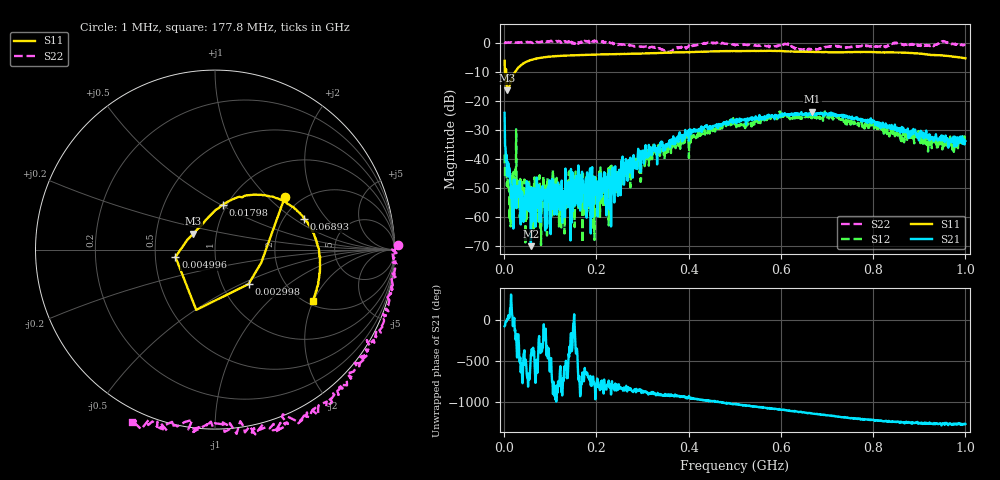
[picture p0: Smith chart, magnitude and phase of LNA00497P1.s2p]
! Created with skrf 1.9.0 (http://scikit-rf.org).
# Hz S RI R 50.0
!freq ReS11 ImS11 ReS21 ImS21 ReS12 ImS12 ReS22 ImS22
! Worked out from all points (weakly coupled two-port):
!   1001 points, 1 MHz to 1 GHz, reference 50 ohm
!   highest |S21| = -23.84 dB at 668.3 MHz (marker M1); lowest = -70.2 dB at 57.94 MHz (marker M2)
!   lowest |S11| = -16.5 dB at 6.994 MHz (marker M3), VSWR 1.35, Z = 38.7 + j7.06 ohm
!   |S11| at or under -10 dB: 1.72 MHz to 3.604 MHz (1.884 MHz wide, 70.8 % of centre); 4.234 MHz to 24.09 MHz (19.86 MHz wide, 140 % of centre)
!   |S22| runs from -3.3 to 0.8 dB; largest |S21 - S12| = 0.05
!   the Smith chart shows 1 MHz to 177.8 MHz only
!   S11 on the Smith chart (normalised r, x): 1 MHz: 1.67, +1.27; 2.998 MHz: 1.33, -0.55; 4.996 MHz: 0.64, -0.06; 17.98 MHz: 0.96, +0.51; 68.93 MHz: 2.56, +1.19; 177.8 MHz: 2.15, -1.98
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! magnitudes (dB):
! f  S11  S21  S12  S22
! 1 MHz  -6.3  -24.2  -38.6  0.2
! 2.998 MHz  -11.4  -36.1  -42.9  0.1
! 4.996 MHz  -13.0  -38.7  -45.2  0.0
! 6.994 MHz  -16.5  -41.0  -46.7  0.0
! 17.98 MHz  -11.9  -60.9  -44.8  0.0
! 21.98 MHz  -10.6  -50.2  -49.9  0.1
! 43.96 MHz  -6.9  -57.1  -47.2  0.2
! 57.94 MHz  -6.0  -70.2  -50.7  0.2
! 68.93 MHz  -5.6  -50.7  -46.8  0.0
! 109.9 MHz  -4.7  -56.6  -47.3  0.4
! 128.9 MHz  -4.5  -52.1  -52.4  0.6
! 143.9 MHz  -4.4  -68.2  -51.0  0.0
! 167.8 MHz  -4.3  -55.1  -58.0  0.4
! 177.8 MHz  -4.2  -46.9  -46.3  0.6
! 190.8 MHz  -4.2  -42.9  -64.6  0.4
! 233.8 MHz  -4.0  -51.7  -46.4  -0.1
! 334.7 MHz  -3.6  -36.4  -36.9  -1.9
! 500.5 MHz  -2.9  -27.0  -27.3  -1.0
! 667.3 MHz  -3.2  -24.9  -26.1  -2.2
! 668.3 MHz  -3.2  -23.8  -25.7  -2.0
! 834.2 MHz  -3.3  -28.7  -31.5  -1.1
! 1 GHz  -5.4  -33.9  -33.4  -0.8
